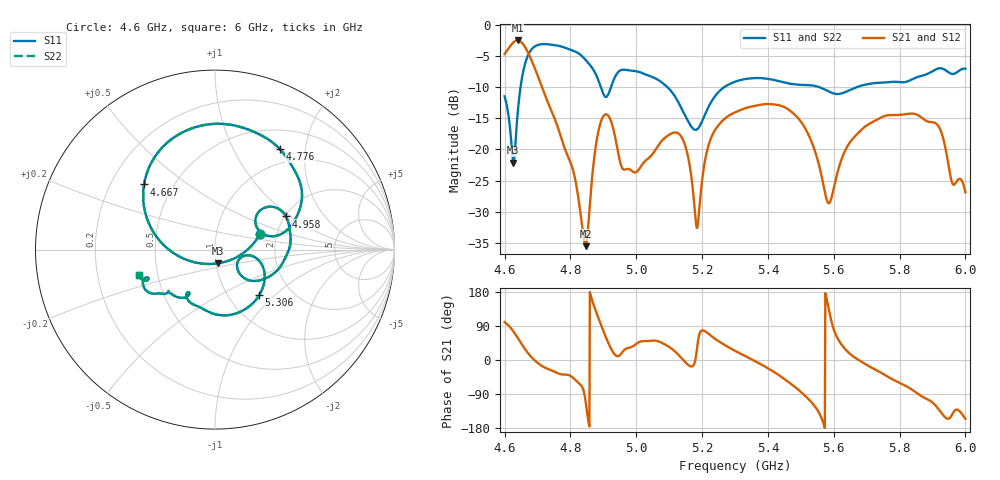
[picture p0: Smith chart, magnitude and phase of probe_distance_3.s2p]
! TOUCHSTONE file generated by CST MICROWAVE STUDIO
! Date and time: Sat Nov 30 13:10:56 2024
! Project name: test_tuning.cst
! Parameters = {airCoaxOuterDiameter=3; chamferAngle=45; chamferWidth=24; connectorLength=10; drillingHoleDiameter=4.1; feedLength=60; flareDiameter=130; flareLength=70; gratingDistance=0; gratingGap=1.90274; outletLength=30; polarizerLength=134; probe1Diameter=1.3; probe1Distance=9; probe1Length=12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
! Header version: 2024
! Port assignment regex: !\s*Touchstone port\s*([0-9]+)\s*=\s*(CST MWS port|CST DES external port|CST DES block port)\s*(.+)\s* \(\"(.*)\"\)(\s*mode\s*([0-9]+))?.*
! Touchstone port assignment:
! Touchstone port 1 = CST MWS port 1 ("Input1")
! Touchstone port 2 = CST MWS port 2 ("Input2")
# GHz S MA R 50
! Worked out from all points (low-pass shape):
!   1001 points, 4.6 GHz to 6 GHz, reference 50 ohm
!   highest |S21| = -2.50 dB at 4.639 GHz (marker M1); lowest = -35.5 dB at 4.846 GHz (marker M2)
!   |S21| within 3 dB of the highest: start of sweep to 4.68 GHz
!   lowest |S11| = -22.1 dB at 4.627 GHz (marker M3), VSWR 1.17, Z = 51.2 - j7.87 ohm
!   |S11| at or under -10 dB: start of sweep to 4.648 GHz; 5.095 GHz to 5.267 GHz (172.2 MHz wide, 3.32 % of centre); 5.556 GHz to 5.67 GHz (113.7 MHz wide, 2.03 % of centre)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
!   |S22| runs from -22.1 to -3.1 dB; largest |S21 - S12| = 3.3e-06
!   S11 on the Smith chart (normalised r, x): 4.6 GHz: 1.64, +0.31; 4.667 GHz: 0.34, +0.35; 4.776 GHz: 0.77, +1.56; 4.958 GHz: 2.03, +0.93; 5.306 GHz: 1.38, -0.80; 6 GHz: 0.39, -0.14
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4.6  0.2671 19.1  0.5846 99.8  0.5846 99.8  0.2671 19.1
4.6266  0.07842 -77.1  0.7237 75.6  0.7237 75.6  0.07842 -77.1
4.6392  0.1895 -165.9  0.7502 59.3  0.7502 59.3  0.1895 -165.9
4.6672  0.5366 137.5  0.6295 22.6  0.6295 22.6  0.5366 137.5
4.7064  0.6959 95.5  0.357 -11.7  0.357 -11.7  0.6959 95.5
4.7764  0.6659 57.0  0.1139 -38.3  0.1139 -38.3  0.6659 57.0
4.8338  0.5651 31.0  0.02629 -68.6  0.02629 -68.6  0.5651 31.0
4.8464  0.5224 25.5  0.01673 -111.4  0.01673 -111.4  0.5224 25.5
4.8982  0.2863 17.0  0.1815 80.6  0.1815 80.6  0.2863 17.0
4.9584  0.4366 25.0  0.07015 21.4  0.07015 21.4  0.4366 25.0
5.0676  0.3602 -20.2  0.1085 49.1  0.1085 49.1  0.3602 -20.2
5.139  0.2099 -44.8  0.1238 3.4  0.1238 3.4  0.2099 -44.8
5.1852  0.1453 -21.6  0.02347 35.1  0.02347 35.1  0.1453 -21.6
5.2244  0.2324 -11.4  0.1182 66.1  0.1182 66.1  0.2324 -11.4
5.3  0.3497 -43.4  0.1984 24.1  0.1984 24.1  0.3497 -43.4
5.3056  0.3538 -45.8  0.2014 21.7  0.2014 21.7  0.3538 -45.8
5.5338  0.3265 -114.2  0.1131 -112.9  0.1131 -112.9  0.3265 -114.2
5.5856  0.2915 -122.8  0.03701 131.4  0.03701 131.4  0.2914 -122.8
5.6486  0.2994 -120.2  0.1135 16.8  0.1135 16.8  0.2994 -120.2
5.7676  0.3473 -135.1  0.1887 -45.8  0.1887 -45.8  0.3473 -135.1
5.9132  0.4432 -148.2  0.1595 -124.0  0.1595 -124.0  0.4432 -148.2
6  0.4458 -161.2  0.04534 -155.4  0.04534 -155.4  0.4458 -161.2
